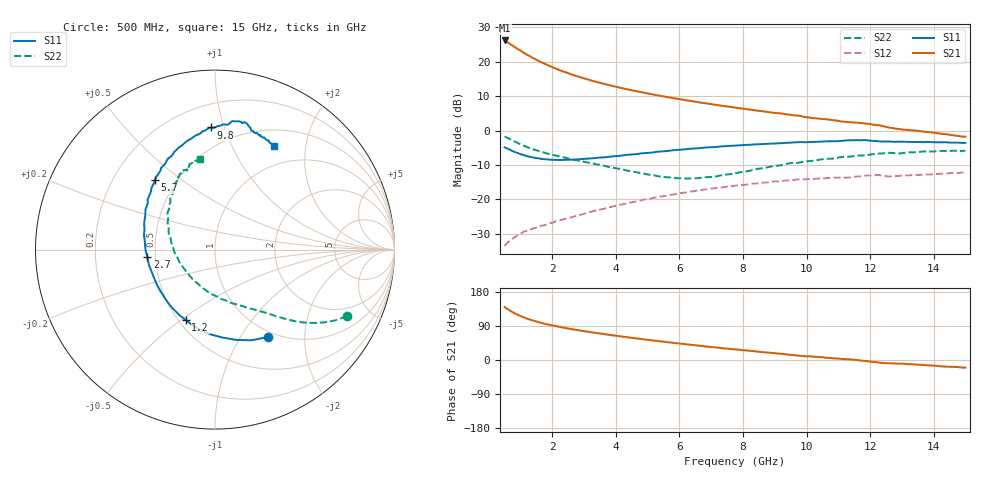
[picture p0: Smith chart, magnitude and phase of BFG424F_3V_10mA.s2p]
! Filename BFG424F_3V_10mA.prm
! Simulation_Values
! Created	by	janssen	on		nov	2006
!	Column ranking S11, S21,S12,S22 both magnitude and phase.
!	VCE	=	3	V,	IC	=	10	mA
!	Common	Emitter	S-Parameters
#	GHZ	S	MA	R	50
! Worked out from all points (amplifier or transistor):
!   146 points, 500 MHz to 15 GHz, reference 50 ohm
!   highest |S21| = 26.2 dB at 500 MHz (marker M1)
!   |S21| within 3 dB of that: start of sweep to 1.002 GHz
!   unconditionally stable (mu >= 1): 2.35 GHz to end of sweep
!   at 2.9 GHz: K = 1.09, MAG = 18.1 dB, |S12| = -24.4 dB
!   at 7.8 GHz: K = 1.17, MAG = 8.7 dB, |S12| = -15.9 dB
!   at 15 GHz: K = 1.46, MAG = 1.2 dB, |S12| = -12.2 dB
!   S11 on the Smith chart (normalised r, x): 500 MHz: 0.92, -1.33; 1.2 GHz: 0.54, -0.52; 2.7 GHz: 0.45, -0.04; 5.7 GHz: 0.38, +0.40; 9.8 GHz: 0.36, +0.90; 15 GHz: 0.72, +1.48
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0.5  0.571 -58.6  20.31 139.9  0.021 65.8  0.823 -26.8
0.6  0.544 -68.2  18.98 133.9  0.024 62.4  0.779 -30.4
0.7  0.516 -77.1  17.7 128.6  0.026 60.9  0.737 -33.3
0.8  0.491 -85.4  16.49 123.9  0.028 59.1  0.699 -35.8
1  0.455 -100.0  14.4 115.9  0.032 56.9  0.632 -39.9
1.2  0.425 -112.6  12.65 109.4  0.035 56.4  0.578 -42.9
1.3  0.415 -118.4  11.92 106.6  0.036 56.1  0.555 -44.3
1.5  0.399 -129.0  10.64 101.5  0.039 56.1  0.517 -46.5
1.8  0.382 -142.8  9.125 94.9  0.043 57.0  0.469 -49.8
2.2  0.374 -157.8  7.641 87.7  0.049 58.2  0.423 -54.0
2.7  0.379 -173.6  6.319 80.1  0.057 59.9  0.376 -59.9
3  0.388 178.8  5.718 76.1  0.062 60.8  0.353 -63.7
3.5  0.406 167.2  4.922 69.8  0.071 61.2  0.318 -71.3
4.1  0.429 155.1  4.215 62.9  0.083 61.4  0.279 -82.3
5.4  0.496 135.0  3.2 49.2  0.11 58.6  0.215 -114.5
5.7  0.511 130.9  3.022 46.3  0.116 57.8  0.209 -123.6
6.8  0.567 118.0  2.493 36.0  0.139 53.8  0.21 -160.2
7.8  0.607 108.2  2.142 27.7  0.16 49.7  0.242 173.1
9.8  0.681 91.8  1.633 11.2  0.196 39.4  0.345 137.8
10.2  0.684 89.4  1.515 9.1  0.199 37.6  0.364 133.0
12.6  0.694 72.3  1.103 -8.7  0.215 26.7  0.476 111.4
15  0.663 60.1  0.816 -20.0  0.245 18.6  0.51 99.4
